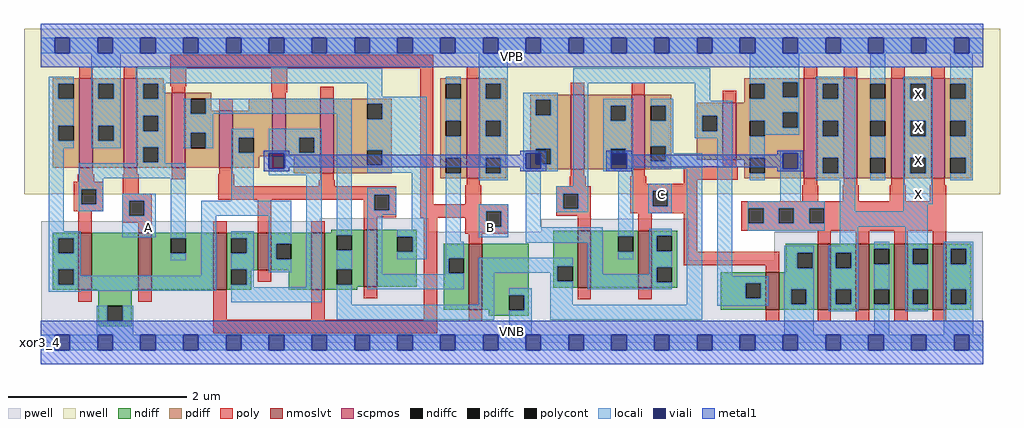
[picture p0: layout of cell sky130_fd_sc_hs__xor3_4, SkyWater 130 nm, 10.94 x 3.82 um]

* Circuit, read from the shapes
.subckt sky130_fd_sc_hs__xor3_4 A B C VGND VNB VPB VPWR X
XM1 VGND n1 n2 VNB sky130_fd_pr__nfet_01v8_lvt w=0.64 l=0.15
XM2 n1 A VGND VNB sky130_fd_pr__nfet_01v8_lvt w=0.64 l=0.15
XM3 n3 B n1 VNB sky130_fd_pr__nfet_01v8_lvt w=0.64 l=0.15
XM4 n2 n4 n3 VNB sky130_fd_pr__nfet_01v8_lvt w=0.42 l=0.15
XM5 n5 B n2 VNB sky130_fd_pr__nfet_01v8_lvt w=0.64 l=0.15
XM6 n1 n4 n5 VNB sky130_fd_pr__nfet_01v8_lvt w=0.64 l=0.15
XM7 VGND B n4 VNB sky130_fd_pr__nfet_01v8_lvt w=0.74 l=0.15
XM8 n6 n7 n5 VNB sky130_fd_pr__nfet_01v8_lvt w=0.64 l=0.15
XM9 n3 C n6 VNB sky130_fd_pr__nfet_01v8_lvt w=0.64 l=0.15
XM10 VGND C n7 VNB sky130_fd_pr__nfet_01v8_lvt w=0.42 l=0.15
XM11 X n6 VGND VNB sky130_fd_pr__nfet_01v8_lvt w=0.74 l=0.15 m=4
XM12 VPWR n1 n2 VPB sky130_fd_pr__pfet_01v8 w=1 l=0.15
XM13 n1 A VPWR VPB sky130_fd_pr__pfet_01v8 w=1 l=0.15
XM14 n5 B n1 VPB sky130_fd_pr__pfet_01v8 w=0.84 l=0.15
XM15 n2 n4 n5 VPB sky130_fd_pr__pfet_01v8 w=0.64 l=0.15
XM16 n3 B n2 VPB sky130_fd_pr__pfet_01v8 w=0.64 l=0.15
XM17 n1 n4 n3 VPB sky130_fd_pr__pfet_01v8 w=0.84 l=0.15
XM18 VPWR B n4 VPB sky130_fd_pr__pfet_01v8 w=1.12 l=0.15
XM19 n6 n7 n3 VPB sky130_fd_pr__pfet_01v8 w=0.84 l=0.15
XM20 n5 C n6 VPB sky130_fd_pr__pfet_01v8 w=0.84 l=0.15
XM21 VPWR C n7 VPB sky130_fd_pr__pfet_01v8 w=0.64 l=0.15
XM22 X n6 VPWR VPB sky130_fd_pr__pfet_01v8 w=1.12 l=0.15 m=4
.ends

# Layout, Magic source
magic
tech sky130A
magscale 1 2
<< nwell >>
rect -38 332 2150 704
<< pwell >>
rect 625 272 869 279
rect 1 248 869 272
rect 1122 248 1452 277
rect 1 184 1452 248
rect 1644 184 2111 248
rect 1 49 2111 184
rect 0 0 2112 49
<< scpmos >>
rect 86 392 116 592
rect 186 392 216 592
rect 293 392 323 560
rect 400 392 430 520
rect 519 418 549 546
rect 626 379 656 547
rect 954 368 984 592
rect 1188 388 1218 556
rect 1324 388 1354 556
rect 1529 410 1559 538
rect 1710 368 1740 592
rect 1800 368 1830 592
rect 1906 368 1936 592
rect 1996 368 2026 592
<< nmoslvt >>
rect 84 118 114 246
rect 218 118 248 246
rect 386 118 416 246
rect 486 162 516 246
rect 606 118 636 246
rect 724 125 754 253
rect 959 74 989 222
rect 1203 123 1233 251
rect 1339 123 1369 251
rect 1625 74 1655 158
rect 1741 74 1771 222
rect 1827 74 1857 222
rect 1913 74 1943 222
rect 1999 74 2029 222
<< ndiff >>
rect 651 246 724 253
rect 27 234 84 246
rect 27 200 39 234
rect 73 200 84 234
rect 27 164 84 200
rect 27 130 39 164
rect 73 130 84 164
rect 27 118 84 130
rect 114 118 218 246
rect 248 234 386 246
rect 248 200 291 234
rect 325 200 386 234
rect 248 118 386 200
rect 416 234 486 246
rect 416 200 427 234
rect 461 200 486 234
rect 416 164 486 200
rect 416 130 427 164
rect 461 162 486 164
rect 516 221 606 246
rect 516 187 527 221
rect 561 187 606 221
rect 516 162 606 187
rect 461 130 471 162
rect 416 118 471 130
rect 556 118 606 162
rect 636 241 724 246
rect 636 207 663 241
rect 697 207 724 241
rect 636 164 724 207
rect 636 130 663 164
rect 697 130 724 164
rect 636 125 724 130
rect 754 237 843 253
rect 754 203 799 237
rect 833 203 843 237
rect 754 125 843 203
rect 636 118 709 125
rect 129 82 203 118
rect 129 48 149 82
rect 183 48 203 82
rect 129 36 203 48
rect 903 189 959 222
rect 903 155 914 189
rect 948 155 959 189
rect 903 74 959 155
rect 989 106 1094 222
rect 1148 171 1203 251
rect 1148 137 1158 171
rect 1192 137 1203 171
rect 1148 123 1203 137
rect 1233 238 1339 251
rect 1233 204 1294 238
rect 1328 204 1339 238
rect 1233 123 1339 204
rect 1369 239 1426 251
rect 1369 205 1380 239
rect 1414 205 1426 239
rect 1369 169 1426 205
rect 1369 135 1380 169
rect 1414 135 1426 169
rect 1670 201 1741 222
rect 1670 167 1696 201
rect 1730 167 1741 201
rect 1670 158 1741 167
rect 1369 123 1426 135
rect 1524 133 1625 158
rect 989 74 1050 106
rect 1004 72 1050 74
rect 1084 72 1094 106
rect 1524 99 1580 133
rect 1614 99 1625 133
rect 1524 74 1625 99
rect 1655 120 1741 158
rect 1655 86 1682 120
rect 1716 86 1741 120
rect 1655 74 1741 86
rect 1771 201 1827 222
rect 1771 167 1782 201
rect 1816 167 1827 201
rect 1771 120 1827 167
rect 1771 86 1782 120
rect 1816 86 1827 120
rect 1771 74 1827 86
rect 1857 210 1913 222
rect 1857 176 1868 210
rect 1902 176 1913 210
rect 1857 120 1913 176
rect 1857 86 1868 120
rect 1902 86 1913 120
rect 1857 74 1913 86
rect 1943 210 1999 222
rect 1943 176 1954 210
rect 1988 176 1999 210
rect 1943 120 1999 176
rect 1943 86 1954 120
rect 1988 86 1999 120
rect 1943 74 1999 86
rect 2029 210 2085 222
rect 2029 176 2040 210
rect 2074 176 2085 210
rect 2029 120 2085 176
rect 2029 86 2040 120
rect 2074 86 2085 120
rect 2029 74 2085 86
rect 1004 60 1094 72
<< pdiff >>
rect 27 580 86 592
rect 27 546 39 580
rect 73 546 86 580
rect 27 486 86 546
rect 27 452 39 486
rect 73 452 86 486
rect 27 392 86 452
rect 116 580 186 592
rect 116 546 129 580
rect 163 546 186 580
rect 116 486 186 546
rect 116 452 129 486
rect 163 452 186 486
rect 116 392 186 452
rect 216 580 275 592
rect 216 546 229 580
rect 263 560 275 580
rect 263 546 293 560
rect 216 508 293 546
rect 216 474 229 508
rect 263 474 293 508
rect 216 438 293 474
rect 216 404 229 438
rect 263 404 293 438
rect 216 392 293 404
rect 323 547 382 560
rect 323 513 336 547
rect 370 520 382 547
rect 573 546 626 547
rect 466 520 519 546
rect 370 513 400 520
rect 323 470 400 513
rect 323 436 336 470
rect 370 436 400 470
rect 323 392 400 436
rect 430 459 519 520
rect 430 425 443 459
rect 477 425 519 459
rect 430 418 519 425
rect 549 459 626 546
rect 549 425 579 459
rect 613 425 626 459
rect 549 418 626 425
rect 430 392 489 418
rect 567 379 626 418
rect 656 535 786 547
rect 656 501 731 535
rect 765 501 786 535
rect 656 431 786 501
rect 656 397 731 431
rect 765 397 786 431
rect 656 379 786 397
rect 895 580 954 592
rect 895 546 907 580
rect 941 546 954 580
rect 895 497 954 546
rect 895 463 907 497
rect 941 463 954 497
rect 895 414 954 463
rect 895 380 907 414
rect 941 380 954 414
rect 895 368 954 380
rect 984 580 1043 592
rect 1577 584 1710 592
rect 984 546 997 580
rect 1031 546 1043 580
rect 1577 580 1663 584
rect 984 497 1043 546
rect 984 463 997 497
rect 1031 463 1043 497
rect 984 414 1043 463
rect 984 380 997 414
rect 1031 380 1043 414
rect 1097 544 1188 556
rect 1097 510 1109 544
rect 1143 510 1188 544
rect 1097 434 1188 510
rect 1097 400 1109 434
rect 1143 400 1188 434
rect 1097 388 1188 400
rect 1218 531 1324 556
rect 1218 497 1277 531
rect 1311 497 1324 531
rect 1218 434 1324 497
rect 1218 400 1277 434
rect 1311 400 1324 434
rect 1218 388 1324 400
rect 1354 531 1413 556
rect 1577 546 1589 580
rect 1623 550 1663 580
rect 1697 550 1710 584
rect 1623 546 1710 550
rect 1577 538 1710 546
rect 1354 497 1367 531
rect 1401 497 1413 531
rect 1354 440 1413 497
rect 1354 406 1367 440
rect 1401 406 1413 440
rect 1470 508 1529 538
rect 1470 474 1482 508
rect 1516 474 1529 508
rect 1470 410 1529 474
rect 1559 516 1710 538
rect 1559 497 1663 516
rect 1559 463 1589 497
rect 1623 482 1663 497
rect 1697 482 1710 516
rect 1623 463 1710 482
rect 1559 414 1710 463
rect 1559 410 1589 414
rect 1354 388 1413 406
rect 984 368 1043 380
rect 1577 380 1589 410
rect 1623 380 1710 414
rect 1577 368 1710 380
rect 1740 580 1800 592
rect 1740 546 1753 580
rect 1787 546 1800 580
rect 1740 497 1800 546
rect 1740 463 1753 497
rect 1787 463 1800 497
rect 1740 414 1800 463
rect 1740 380 1753 414
rect 1787 380 1800 414
rect 1740 368 1800 380
rect 1830 580 1906 592
rect 1830 546 1859 580
rect 1893 546 1906 580
rect 1830 497 1906 546
rect 1830 463 1859 497
rect 1893 463 1906 497
rect 1830 414 1906 463
rect 1830 380 1859 414
rect 1893 380 1906 414
rect 1830 368 1906 380
rect 1936 580 1996 592
rect 1936 546 1949 580
rect 1983 546 1996 580
rect 1936 497 1996 546
rect 1936 463 1949 497
rect 1983 463 1996 497
rect 1936 414 1996 463
rect 1936 380 1949 414
rect 1983 380 1996 414
rect 1936 368 1996 380
rect 2026 580 2085 592
rect 2026 546 2039 580
rect 2073 546 2085 580
rect 2026 497 2085 546
rect 2026 463 2039 497
rect 2073 463 2085 497
rect 2026 414 2085 463
rect 2026 380 2039 414
rect 2073 380 2085 414
rect 2026 368 2085 380
<< ndiffc >>
rect 39 200 73 234
rect 39 130 73 164
rect 291 200 325 234
rect 427 200 461 234
rect 427 130 461 164
rect 527 187 561 221
rect 663 207 697 241
rect 663 130 697 164
rect 799 203 833 237
rect 149 48 183 82
rect 914 155 948 189
rect 1158 137 1192 171
rect 1294 204 1328 238
rect 1380 205 1414 239
rect 1380 135 1414 169
rect 1696 167 1730 201
rect 1050 72 1084 106
rect 1580 99 1614 133
rect 1682 86 1716 120
rect 1782 167 1816 201
rect 1782 86 1816 120
rect 1868 176 1902 210
rect 1868 86 1902 120
rect 1954 176 1988 210
rect 1954 86 1988 120
rect 2040 176 2074 210
rect 2040 86 2074 120
<< pdiffc >>
rect 39 546 73 580
rect 39 452 73 486
rect 129 546 163 580
rect 129 452 163 486
rect 229 546 263 580
rect 229 474 263 508
rect 229 404 263 438
rect 336 513 370 547
rect 336 436 370 470
rect 443 425 477 459
rect 579 425 613 459
rect 731 501 765 535
rect 731 397 765 431
rect 907 546 941 580
rect 907 463 941 497
rect 907 380 941 414
rect 997 546 1031 580
rect 997 463 1031 497
rect 997 380 1031 414
rect 1109 510 1143 544
rect 1109 400 1143 434
rect 1277 497 1311 531
rect 1277 400 1311 434
rect 1589 546 1623 580
rect 1663 550 1697 584
rect 1367 497 1401 531
rect 1367 406 1401 440
rect 1482 474 1516 508
rect 1589 463 1623 497
rect 1663 482 1697 516
rect 1589 380 1623 414
rect 1753 546 1787 580
rect 1753 463 1787 497
rect 1753 380 1787 414
rect 1859 546 1893 580
rect 1859 463 1893 497
rect 1859 380 1893 414
rect 1949 546 1983 580
rect 1949 463 1983 497
rect 1949 380 1983 414
rect 2039 546 2073 580
rect 2039 463 2073 497
rect 2039 380 2073 414
<< poly >>
rect 86 592 116 618
rect 186 592 216 618
rect 290 615 880 645
rect 290 575 326 615
rect 293 560 323 575
rect 516 561 552 615
rect 519 546 549 561
rect 626 547 656 573
rect 400 520 430 546
rect 519 392 549 418
rect 86 377 116 392
rect 186 377 216 392
rect 83 360 119 377
rect 74 344 140 360
rect 74 310 90 344
rect 124 310 140 344
rect 183 334 219 377
rect 293 366 323 392
rect 400 377 430 392
rect 397 350 433 377
rect 626 364 656 379
rect 623 350 659 364
rect 74 294 140 310
rect 182 318 248 334
rect 397 331 797 350
rect 397 320 747 331
rect 84 246 114 294
rect 182 284 198 318
rect 232 284 248 318
rect 182 268 248 284
rect 218 246 248 268
rect 386 246 416 272
rect 486 246 516 320
rect 724 297 747 320
rect 781 297 797 331
rect 724 281 797 297
rect 850 310 880 615
rect 954 592 984 618
rect 1710 592 1740 618
rect 1800 592 1830 618
rect 1906 592 1936 618
rect 1996 592 2026 618
rect 1188 556 1218 582
rect 1324 556 1354 582
rect 1529 538 1559 564
rect 1529 395 1559 410
rect 1188 373 1218 388
rect 1324 373 1354 388
rect 954 353 984 368
rect 951 310 987 353
rect 1185 350 1221 373
rect 1321 356 1357 373
rect 1441 365 1562 395
rect 1441 356 1471 365
rect 1155 334 1233 350
rect 850 294 1048 310
rect 606 246 636 272
rect 724 253 754 281
rect 850 280 998 294
rect 486 136 516 162
rect 84 92 114 118
rect 218 92 248 118
rect 386 51 416 118
rect 606 51 636 118
rect 724 99 754 125
rect 858 51 888 280
rect 951 260 998 280
rect 1032 260 1048 294
rect 1155 300 1171 334
rect 1205 300 1233 334
rect 1155 284 1233 300
rect 1321 340 1471 356
rect 1710 353 1740 368
rect 1800 353 1830 368
rect 1906 353 1936 368
rect 1996 353 2026 368
rect 1321 306 1371 340
rect 1405 306 1471 340
rect 1707 317 1743 353
rect 1797 317 1833 353
rect 1903 317 1939 353
rect 1993 317 2029 353
rect 1321 290 1471 306
rect 951 244 1048 260
rect 1203 251 1233 284
rect 1339 251 1369 290
rect 959 222 989 244
rect 1441 203 1471 290
rect 1570 301 2029 317
rect 1570 267 1586 301
rect 1620 267 1654 301
rect 1688 267 1722 301
rect 1756 267 2029 301
rect 1570 251 2029 267
rect 1741 222 1771 251
rect 1827 222 1857 251
rect 1913 222 1943 251
rect 1999 222 2029 251
rect 1441 173 1655 203
rect 1625 158 1655 173
rect 386 21 888 51
rect 959 48 989 74
rect 1203 97 1233 123
rect 1339 97 1369 123
rect 1625 48 1655 74
rect 1741 48 1771 74
rect 1827 48 1857 74
rect 1913 48 1943 74
rect 1999 48 2029 74
<< polycont >>
rect 90 310 124 344
rect 198 284 232 318
rect 747 297 781 331
rect 998 260 1032 294
rect 1171 300 1205 334
rect 1371 306 1405 340
rect 1586 267 1620 301
rect 1654 267 1688 301
rect 1722 267 1756 301
<< locali >>
rect 0 649 31 683
rect 65 649 127 683
rect 161 649 223 683
rect 257 649 319 683
rect 353 649 415 683
rect 449 649 511 683
rect 545 649 607 683
rect 641 649 703 683
rect 737 649 799 683
rect 833 649 895 683
rect 929 649 991 683
rect 1025 649 1087 683
rect 1121 649 1183 683
rect 1217 649 1279 683
rect 1313 649 1375 683
rect 1409 649 1471 683
rect 1505 649 1567 683
rect 1601 649 1663 683
rect 1697 649 1759 683
rect 1793 649 1855 683
rect 1889 649 1951 683
rect 1985 649 2047 683
rect 2081 649 2112 683
rect 17 580 73 596
rect 17 546 39 580
rect 17 486 73 546
rect 17 452 39 486
rect 17 436 73 452
rect 113 580 179 649
rect 113 546 129 580
rect 163 546 179 580
rect 113 486 179 546
rect 113 452 129 486
rect 163 452 179 486
rect 113 436 179 452
rect 213 581 765 615
rect 213 580 279 581
rect 213 546 229 580
rect 263 546 279 580
rect 731 551 765 581
rect 907 580 941 596
rect 213 508 279 546
rect 213 474 229 508
rect 263 474 279 508
rect 213 438 279 474
rect 17 250 51 436
rect 213 404 229 438
rect 263 404 279 438
rect 320 513 336 547
rect 370 513 697 547
rect 320 470 386 513
rect 320 436 336 470
rect 370 436 386 470
rect 427 459 477 479
rect 213 402 279 404
rect 427 425 443 459
rect 85 368 325 402
rect 85 344 140 368
rect 85 310 90 344
rect 124 310 140 344
rect 85 294 140 310
rect 182 318 257 334
rect 182 284 198 318
rect 232 284 257 318
rect 17 234 89 250
rect 182 236 257 284
rect 17 200 39 234
rect 73 200 89 234
rect 17 164 89 200
rect 291 234 325 368
rect 427 318 477 425
rect 511 459 629 479
rect 511 425 579 459
rect 613 425 629 459
rect 511 424 629 425
rect 545 390 629 424
rect 511 375 629 390
rect 291 184 325 200
rect 359 284 561 318
rect 17 130 39 164
rect 73 150 89 164
rect 359 150 393 284
rect 73 130 393 150
rect 17 116 393 130
rect 427 234 477 250
rect 461 200 477 234
rect 427 164 477 200
rect 461 130 477 164
rect 511 221 561 284
rect 511 187 527 221
rect 511 158 561 187
rect 427 124 477 130
rect 595 124 629 375
rect 17 114 89 116
rect 427 90 629 124
rect 663 241 697 513
rect 731 535 865 551
rect 765 501 865 535
rect 731 431 865 501
rect 765 397 865 431
rect 731 381 865 397
rect 663 164 697 207
rect 663 85 697 130
rect 731 331 797 347
rect 731 297 747 331
rect 781 297 797 331
rect 731 287 797 297
rect 731 153 765 287
rect 831 253 865 381
rect 799 237 865 253
rect 833 203 865 237
rect 799 187 865 203
rect 907 497 941 546
rect 907 414 941 463
rect 907 226 941 380
rect 981 580 1047 649
rect 981 546 997 580
rect 1031 546 1047 580
rect 1193 581 1500 615
rect 981 497 1047 546
rect 981 463 997 497
rect 1031 463 1047 497
rect 981 414 1047 463
rect 981 380 997 414
rect 1031 380 1047 414
rect 1081 544 1159 560
rect 1081 510 1109 544
rect 1143 510 1159 544
rect 1081 434 1159 510
rect 1081 424 1109 434
rect 1081 390 1087 424
rect 1143 400 1159 434
rect 1121 390 1159 400
rect 1081 384 1159 390
rect 981 364 1047 380
rect 982 294 1048 310
rect 982 260 998 294
rect 1032 260 1048 294
rect 982 236 1048 260
rect 1087 258 1121 384
rect 1193 350 1227 581
rect 1261 531 1328 547
rect 1261 497 1277 531
rect 1311 497 1328 531
rect 1261 434 1328 497
rect 1261 400 1277 434
rect 1311 424 1328 434
rect 1261 390 1279 400
rect 1313 390 1328 424
rect 1367 531 1417 547
rect 1401 497 1417 531
rect 1367 440 1417 497
rect 1466 542 1500 581
rect 1589 584 1700 649
rect 1589 580 1663 584
rect 1623 550 1663 580
rect 1697 550 1700 584
rect 1623 546 1700 550
rect 1466 508 1550 542
rect 1466 474 1482 508
rect 1516 474 1550 508
rect 1466 458 1550 474
rect 1401 424 1417 440
rect 1401 406 1482 424
rect 1367 390 1482 406
rect 1261 384 1328 390
rect 1155 334 1227 350
rect 1155 300 1171 334
rect 1205 300 1227 334
rect 1155 292 1227 300
rect 907 189 948 226
rect 1087 224 1260 258
rect 907 155 914 189
rect 907 153 948 155
rect 731 119 948 153
rect 982 171 1192 190
rect 982 156 1158 171
rect 982 85 1016 156
rect 1142 137 1158 156
rect 125 48 149 82
rect 183 48 207 82
rect 663 51 1016 85
rect 1050 106 1100 122
rect 1084 72 1100 106
rect 125 17 207 48
rect 1050 17 1100 72
rect 1142 85 1192 137
rect 1226 153 1260 224
rect 1294 238 1328 384
rect 1362 340 1414 356
rect 1362 306 1371 340
rect 1405 306 1414 340
rect 1362 290 1414 306
rect 1294 187 1328 204
rect 1364 239 1414 255
rect 1364 205 1380 239
rect 1364 169 1414 205
rect 1364 153 1380 169
rect 1226 135 1380 153
rect 1226 119 1414 135
rect 1448 85 1482 390
rect 1142 51 1482 85
rect 1516 149 1550 458
rect 1589 516 1700 546
rect 1589 497 1663 516
rect 1623 482 1663 497
rect 1697 482 1700 516
rect 1623 466 1700 482
rect 1737 580 1825 596
rect 1737 546 1753 580
rect 1787 546 1825 580
rect 1737 497 1825 546
rect 1589 414 1623 463
rect 1737 463 1753 497
rect 1787 463 1825 497
rect 1589 364 1623 380
rect 1657 424 1703 430
rect 1657 390 1663 424
rect 1697 390 1703 424
rect 1657 317 1703 390
rect 1737 414 1825 463
rect 1737 380 1753 414
rect 1787 380 1825 414
rect 1737 364 1825 380
rect 1859 580 1893 649
rect 1859 497 1893 546
rect 1859 414 1893 463
rect 1859 364 1893 380
rect 1933 580 1999 596
rect 1933 546 1949 580
rect 1983 546 1999 580
rect 1933 497 1999 546
rect 1933 463 1949 497
rect 1983 463 1999 497
rect 1933 414 1999 463
rect 1933 380 1949 414
rect 1983 380 1999 414
rect 1584 301 1757 317
rect 1584 267 1586 301
rect 1620 267 1654 301
rect 1688 267 1722 301
rect 1756 267 1757 301
rect 1584 251 1757 267
rect 1791 294 1825 364
rect 1933 310 1999 380
rect 2039 580 2089 649
rect 2073 546 2089 580
rect 2039 497 2089 546
rect 2073 463 2089 497
rect 2039 414 2089 463
rect 2073 380 2089 414
rect 2039 364 2089 380
rect 1933 294 1988 310
rect 1791 260 1988 294
rect 1791 217 1832 260
rect 1666 201 1732 217
rect 1666 167 1696 201
rect 1730 167 1732 201
rect 1516 133 1630 149
rect 1516 99 1580 133
rect 1614 99 1630 133
rect 1516 83 1630 99
rect 1666 120 1732 167
rect 1666 86 1682 120
rect 1716 86 1732 120
rect 1666 17 1732 86
rect 1766 201 1832 217
rect 1766 167 1782 201
rect 1816 167 1832 201
rect 1766 120 1832 167
rect 1766 86 1782 120
rect 1816 86 1832 120
rect 1766 70 1832 86
rect 1868 210 1902 226
rect 1868 120 1902 176
rect 1868 17 1902 86
rect 1938 210 1988 260
rect 1938 176 1954 210
rect 1938 120 1988 176
rect 1938 86 1954 120
rect 1938 70 1988 86
rect 2024 210 2090 226
rect 2024 176 2040 210
rect 2074 176 2090 210
rect 2024 120 2090 176
rect 2024 86 2040 120
rect 2074 86 2090 120
rect 2024 17 2090 86
rect 0 -17 31 17
rect 65 -17 127 17
rect 161 -17 223 17
rect 257 -17 319 17
rect 353 -17 415 17
rect 449 -17 511 17
rect 545 -17 607 17
rect 641 -17 703 17
rect 737 -17 799 17
rect 833 -17 895 17
rect 929 -17 991 17
rect 1025 -17 1087 17
rect 1121 -17 1183 17
rect 1217 -17 1279 17
rect 1313 -17 1375 17
rect 1409 -17 1471 17
rect 1505 -17 1567 17
rect 1601 -17 1663 17
rect 1697 -17 1759 17
rect 1793 -17 1855 17
rect 1889 -17 1951 17
rect 1985 -17 2047 17
rect 2081 -17 2112 17
<< viali >>
rect 31 649 65 683
rect 127 649 161 683
rect 223 649 257 683
rect 319 649 353 683
rect 415 649 449 683
rect 511 649 545 683
rect 607 649 641 683
rect 703 649 737 683
rect 799 649 833 683
rect 895 649 929 683
rect 991 649 1025 683
rect 1087 649 1121 683
rect 1183 649 1217 683
rect 1279 649 1313 683
rect 1375 649 1409 683
rect 1471 649 1505 683
rect 1567 649 1601 683
rect 1663 649 1697 683
rect 1759 649 1793 683
rect 1855 649 1889 683
rect 1951 649 1985 683
rect 2047 649 2081 683
rect 511 390 545 424
rect 1087 400 1109 424
rect 1109 400 1121 424
rect 1087 390 1121 400
rect 1279 400 1311 424
rect 1311 400 1313 424
rect 1279 390 1313 400
rect 1663 390 1697 424
rect 31 -17 65 17
rect 127 -17 161 17
rect 223 -17 257 17
rect 319 -17 353 17
rect 415 -17 449 17
rect 511 -17 545 17
rect 607 -17 641 17
rect 703 -17 737 17
rect 799 -17 833 17
rect 895 -17 929 17
rect 991 -17 1025 17
rect 1087 -17 1121 17
rect 1183 -17 1217 17
rect 1279 -17 1313 17
rect 1375 -17 1409 17
rect 1471 -17 1505 17
rect 1567 -17 1601 17
rect 1663 -17 1697 17
rect 1759 -17 1793 17
rect 1855 -17 1889 17
rect 1951 -17 1985 17
rect 2047 -17 2081 17
<< metal1 >>
rect 0 683 2112 715
rect 0 649 31 683
rect 65 649 127 683
rect 161 649 223 683
rect 257 649 319 683
rect 353 649 415 683
rect 449 649 511 683
rect 545 649 607 683
rect 641 649 703 683
rect 737 649 799 683
rect 833 649 895 683
rect 929 649 991 683
rect 1025 649 1087 683
rect 1121 649 1183 683
rect 1217 649 1279 683
rect 1313 649 1375 683
rect 1409 649 1471 683
rect 1505 649 1567 683
rect 1601 649 1663 683
rect 1697 649 1759 683
rect 1793 649 1855 683
rect 1889 649 1951 683
rect 1985 649 2047 683
rect 2081 649 2112 683
rect 0 617 2112 649
rect 499 424 557 430
rect 499 390 511 424
rect 545 421 557 424
rect 1075 424 1133 430
rect 1075 421 1087 424
rect 545 393 1087 421
rect 545 390 557 393
rect 499 384 557 390
rect 1075 390 1087 393
rect 1121 390 1133 424
rect 1075 384 1133 390
rect 1267 424 1325 430
rect 1267 390 1279 424
rect 1313 421 1325 424
rect 1651 424 1709 430
rect 1651 421 1663 424
rect 1313 393 1663 421
rect 1313 390 1325 393
rect 1267 384 1325 390
rect 1651 390 1663 393
rect 1697 390 1709 424
rect 1651 384 1709 390
rect 0 17 2112 49
rect 0 -17 31 17
rect 65 -17 127 17
rect 161 -17 223 17
rect 257 -17 319 17
rect 353 -17 415 17
rect 449 -17 511 17
rect 545 -17 607 17
rect 641 -17 703 17
rect 737 -17 799 17
rect 833 -17 895 17
rect 929 -17 991 17
rect 1025 -17 1087 17
rect 1121 -17 1183 17
rect 1217 -17 1279 17
rect 1313 -17 1375 17
rect 1409 -17 1471 17
rect 1505 -17 1567 17
rect 1601 -17 1663 17
rect 1697 -17 1759 17
rect 1793 -17 1855 17
rect 1889 -17 1951 17
rect 1985 -17 2047 17
rect 2081 -17 2112 17
rect 0 -49 2112 -17
<< labels >>
rlabel comment s 0 0 0 0 4 xor3_4
flabel pwell s 0 0 2112 49 0 FreeSans 200 0 0 0 VNB
port 5 nsew ground bidirectional
flabel nwell s 0 617 2112 666 0 FreeSans 200 0 0 0 VPB
port 6 nsew power bidirectional
flabel metal1 s 0 617 2112 666 0 FreeSans 340 0 0 0 VPWR
port 7 nsew power bidirectional
flabel metal1 s 0 0 2112 49 0 FreeSans 340 0 0 0 VGND
port 4 nsew ground bidirectional
flabel locali s 1951 316 1985 350 0 FreeSans 340 0 0 0 X
port 8 nsew signal output
flabel locali s 1951 390 1985 424 0 FreeSans 340 0 0 0 X
port 8 nsew signal output
flabel locali s 1951 464 1985 498 0 FreeSans 340 0 0 0 X
port 8 nsew signal output
flabel locali s 1951 538 1985 572 0 FreeSans 340 0 0 0 X
port 8 nsew signal output
flabel locali s 991 242 1025 276 0 FreeSans 340 0 0 0 B
port 2 nsew signal input
flabel locali s 1375 316 1409 350 0 FreeSans 340 0 0 0 C
port 3 nsew signal input
flabel locali s 223 242 257 276 0 FreeSans 340 0 0 0 A
port 1 nsew signal input
<< properties >>
string LEFsite unit
string LEFclass CORE
string FIXED_BBOX 0 0 2112 666
string GDS_FILE $PDKPATH/libs.ref/sky130_fd_sc_hs/gds/sky130_fd_sc_hs.gds
string LEFsymmetry X Y
string GDS_END 2840922
string GDS_START 2825260
<< end >>
